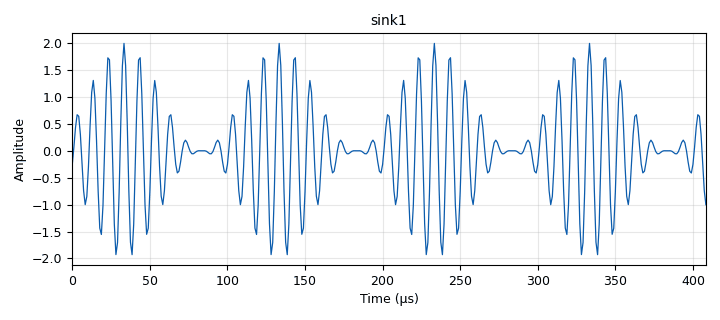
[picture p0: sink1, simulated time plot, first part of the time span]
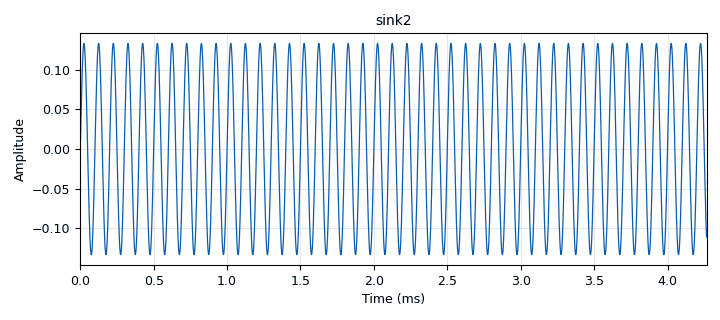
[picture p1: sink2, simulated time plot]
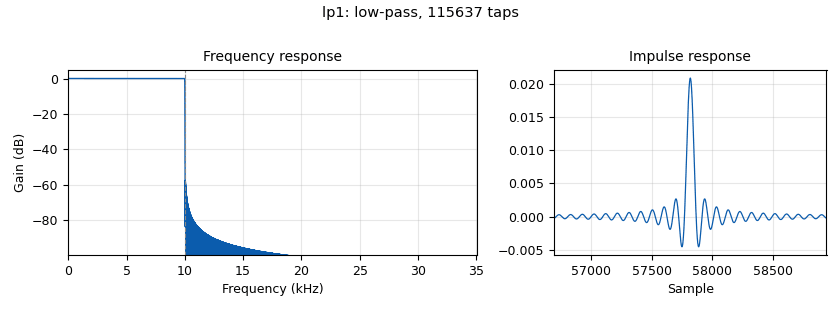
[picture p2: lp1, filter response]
<?xml version='1.0' encoding='utf-8'?>
<?grc format='1' created='3.7.13'?>
<flow_graph>
<block>
<key>options</key>
<param><key>id</key><value>top_block</value></param>
<param><key>generate_options</key><value>qt_gui</value></param>
</block>
<block>
<key>variable</key>
<param><key>id</key><value>samp_rate</value></param>
<param><key>value</key><value>960000</value></param>
</block>
<block>
<key>blocks_add_const_vxx</key>
<param><key>id</key><value>adder</value></param>
<param><key>const</key><value>1</value></param>
<param><key>type</key><value>float</value></param>
</block>
<block>
<key>analog_sig_source_x</key>
<param><key>id</key><value>analog_sig_source_x_0</value></param>
<param><key>amp</key><value>1</value></param>
<param><key>freq</key><value>10000</value></param>
<param><key>offset</key><value>0</value></param>
<param><key>type</key><value>float</value></param>
<param><key>samp_rate</key><value>samp_rate</value></param>
<param><key>waveform</key><value>analog.GR_COS_WAVE</value></param>
</block>
<block>
<key>analog_sig_source_x</key>
<param><key>id</key><value>analog_sig_source_x_1</value></param>
<param><key>amp</key><value>1</value></param>
<param><key>freq</key><value>100000</value></param>
<param><key>offset</key><value>0</value></param>
<param><key>type</key><value>float</value></param>
<param><key>samp_rate</key><value>samp_rate</value></param>
<param><key>waveform</key><value>analog.GR_COS_WAVE</value></param>
</block>
<block>
<key>blocks_multiply_xx</key>
<param><key>id</key><value>blocks_multiply_xx_0</value></param>
<param><key>type</key><value>float</value></param>
</block>
<block>
<key>blocks_multiply_xx</key>
<param><key>id</key><value>blocks_multiply_xx_1</value></param>
<param><key>type</key><value>float</value></param>
</block>
<block>
<key>blocks_throttle</key>
<param><key>id</key><value>blocks_throttle_0</value></param>
<param><key>samples_per_second</key><value>samp_rate</value></param>
<param><key>type</key><value>float</value></param>
</block>
<block>
<key>blocks_throttle</key>
<param><key>id</key><value>blocks_throttle_0_0</value></param>
<param><key>samples_per_second</key><value>samp_rate</value></param>
<param><key>type</key><value>float</value></param>
</block>
<block>
<key>dc_blocker_xx</key>
<param><key>id</key><value>dc_blocker_xx_0</value></param>
<param><key>length</key><value>32</value></param>
<param><key>long_form</key><value>True</value></param>
<param><key>type</key><value>ff</value></param>
</block>
<block>
<key>low_pass_filter</key>
<param><key>id</key><value>lp1</value></param>
<param><key>cutoff_freq</key><value>10000</value></param>
<param><key>decim</key><value>1</value></param>
<param><key>type</key><value>fir_filter_fff</value></param>
<param><key>gain</key><value>1</value></param>
<param><key>samp_rate</key><value>samp_rate</value></param>
<param><key>width</key><value>20</value></param>
<param><key>win</key><value>firdes.WIN_HAMMING</value></param>
</block>
<block>
<key>qtgui_time_sink_x</key>
<param><key>id</key><value>sink1</value></param>
<param><key>autoscale</key><value>True</value></param>
<param><key>gui_hint</key><value>tab@0</value></param>
<param><key>grid</key><value>True</value></param>
<param><key>color1</key><value>"blue"</value></param>
<param><key>label1</key><value></value></param>
<param><key>size</key><value>4096</value></param>
<param><key>srate</key><value>samp_rate</value></param>
<param><key>type</key><value>float</value></param>
</block>
<block>
<key>qtgui_time_sink_x</key>
<param><key>id</key><value>sink2</value></param>
<param><key>autoscale</key><value>True</value></param>
<param><key>gui_hint</key><value>tab@1</value></param>
<param><key>grid</key><value>True</value></param>
<param><key>color1</key><value>"blue"</value></param>
<param><key>label1</key><value></value></param>
<param><key>size</key><value>4096</value></param>
<param><key>srate</key><value>samp_rate</value></param>
<param><key>type</key><value>float</value></param>
<param><key>ymax</key><value>2</value></param>
<param><key>ymin</key><value>-2</value></param>
</block>
<block>
<key>qtgui_tab_widget</key>
<param><key>id</key><value>tab</value></param>
<param><key>label0</key><value>modulated</value></param>
<param><key>label1</key><value>demodulated</value></param>
<param><key>num_tabs</key><value>2</value></param>
</block>
<connection><source_block_id>adder</source_block_id><sink_block_id>blocks_multiply_xx_0</sink_block_id><source_key>0</source_key><sink_key>0</sink_key></connection>
<connection><source_block_id>analog_sig_source_x_0</source_block_id><sink_block_id>blocks_throttle_0</sink_block_id><source_key>0</source_key><sink_key>0</sink_key></connection>
<connection><source_block_id>analog_sig_source_x_1</source_block_id><sink_block_id>blocks_throttle_0_0</sink_block_id><source_key>0</source_key><sink_key>0</sink_key></connection>
<connection><source_block_id>blocks_multiply_xx_0</source_block_id><sink_block_id>blocks_multiply_xx_1</sink_block_id><source_key>0</source_key><sink_key>0</sink_key></connection>
<connection><source_block_id>blocks_multiply_xx_0</source_block_id><sink_block_id>sink1</sink_block_id><source_key>0</source_key><sink_key>0</sink_key></connection>
<connection><source_block_id>blocks_multiply_xx_1</source_block_id><sink_block_id>lp1</sink_block_id><source_key>0</source_key><sink_key>0</sink_key></connection>
<connection><source_block_id>blocks_throttle_0</source_block_id><sink_block_id>adder</sink_block_id><source_key>0</source_key><sink_key>0</sink_key></connection>
<connection><source_block_id>blocks_throttle_0_0</source_block_id><sink_block_id>blocks_multiply_xx_0</sink_block_id><source_key>0</source_key><sink_key>1</sink_key></connection>
<connection><source_block_id>blocks_throttle_0_0</source_block_id><sink_block_id>blocks_multiply_xx_1</sink_block_id><source_key>0</source_key><sink_key>1</sink_key></connection>
<connection><source_block_id>dc_blocker_xx_0</source_block_id><sink_block_id>sink2</sink_block_id><source_key>0</source_key><sink_key>0</sink_key></connection>
<connection><source_block_id>lp1</source_block_id><sink_block_id>dc_blocker_xx_0</sink_block_id><source_key>0</source_key><sink_key>0</sink_key></connection>
</flow_graph>
